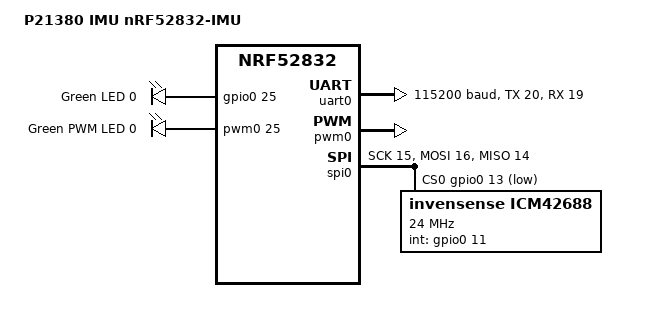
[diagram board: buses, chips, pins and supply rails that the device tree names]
/*
 * Copyright (c) 2018 Zelin <zelin@makerdiary.com>
 * Copyright (c) 2018 makerdiary.com.
 *
 * SPDX-License-Identifier: Apache-2.0
 */

/dts-v1/;
#include <nordic/nrf52832_qfaa.dtsi>

/ {
	model = "P21380 IMU nRF52832-IMU";
	/* compatible = "nordic,nrf52832-qfaa", "nordic,nrf52832"; */

	chosen {
		zephyr,console = &uart0;
		zephyr,shell-uart = &uart0;
		zephyr,uart-mcumgr = &uart0;
		zephyr,bt-mon-uart = &uart0;
		zephyr,bt-c2h-uart = &uart0;
		zephyr,sram = &sram0;
		zephyr,flash = &flash0;
		zephyr,code-partition = &slot0_partition;
	};

	leds {
		compatible = "gpio-leds";
		led0_green: led_0 {
			gpios = <&gpio0 25 GPIO_ACTIVE_HIGH>;
			label = "Green LED 0";
		};
	};

	pwmleds {
		compatible = "pwm-leds";
		pwm_led0_green: pwm_led_0 {
			pwms = <&pwm0 25>;
			label = "Green PWM LED 0";
		};
	};

	/* These aliases are provided for compatibility with samples */
	aliases {
		led0 = &led0_green;
		led0-green = &led0_green;
		pwm-led0 = &pwm_led0_green;
		green-pwm-led = &pwm_led0_green;
	};

};

&gpiote {
	status = "okay";
};

&gpio0 {
	status = "okay";
};

&uart0 {
	status = "okay";
	compatible = "nordic,nrf-uart";
	current-speed = <115200>;
	tx-pin = <20>;
	rx-pin = <19>;
};

/* &i2c0 { */
/* 	compatible = "nordic,nrf-twi"; */
/* 	status = "okay"; */
/* 	sda-pin = <26>; */
/* 	scl-pin = <27>; */
/* }; */
/*  */
/* &i2c1 { */
/* 	compatible = "nordic,nrf-twi"; */
/* 	status = "okay"; */
/* 	sda-pin = <30>; */
/* 	scl-pin = <31>; */
/* }; */

&pwm0 {
	status = "okay";
	ch0-pin = <25>;
	ch0-inverted;
};

&spi0 {
    compatible = "nordic,nrf-spi";
    status = "okay";
    sck-pin = <15>;
    mosi-pin = <16>;
    miso-pin = <14>;
    cs-gpios = <&gpio0 13 GPIO_ACTIVE_LOW>;
    /* label = "SPI_0"; */
	icm42688@0 {
		compatible = "invensense,icm42688";
		spi-max-frequency = <24000000>;
		reg = <0>;
		label = "ICM42688";
		int-gpios = <&gpio0 11 GPIO_ACTIVE_HIGH>;
	};
};

/* &lptmr1 { */
/* 	interrupt-parent = <&intmux0_ch2>; */
/* }; */
/*  */
/* &intmux0_ch2 { */
/* 	status = "okay"; */
/* }; */
/*  */
/* &intmux0_ch3 { */
/* 	status = "okay"; */
/* }; */
/*  */
/* &generic_fsk { */
/* 	interrupt-parent = <&intmux0_ch3>; */
/* 	status = "okay"; */
/* }; */

&flash0 {

	partitions {
		compatible = "fixed-partitions";
		#address-cells = <1>;
		#size-cells = <1>;

		boot_partition: partition@0 {
			label = "mcuboot";
			reg = <0x00000000 0xc000>;
		};
		slot0_partition: partition@c000 {
			label = "image-0";
			reg = <0x0000C000 0x32000>;
		};
		slot1_partition: partition@3e000 {
			label = "image-1";
			reg = <0x0003E000 0x32000>;
		};
		scratch_partition: partition@70000 {
			label = "image-scratch";
			reg = <0x00070000 0xa000>;
		};
		storage_partition: partition@7a000 {
			label = "storage";
			reg = <0x0007a000 0x00006000>;
		};
	};
};
